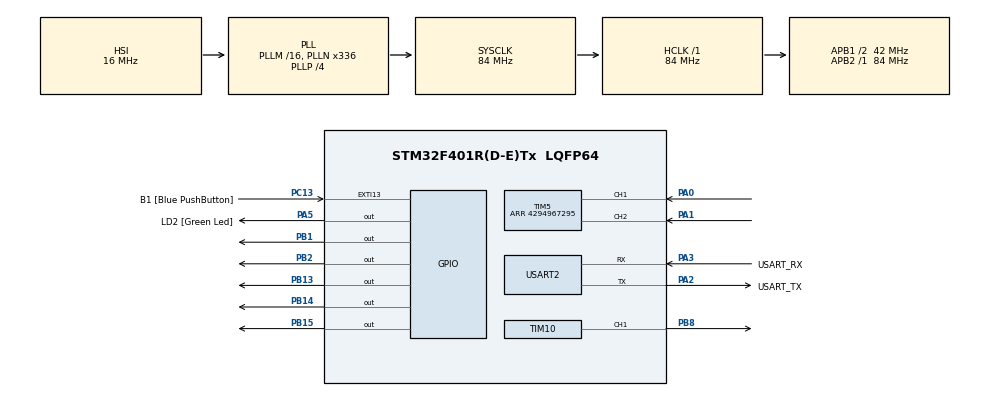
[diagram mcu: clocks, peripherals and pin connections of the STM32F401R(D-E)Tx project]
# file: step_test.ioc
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Mcu.Family=STM32F4
Mcu.Name=STM32F401R(D-E)Tx
Mcu.Package=LQFP64
NVIC.PriorityGroup=NVIC_PRIORITYGROUP_0
NVIC.TIM1_UP_TIM10_IRQn=true\:0\:0\:false\:false\:true\:true
NVIC.TIM3_IRQn=true\:0\:0\:false\:false\:true\:true
NVIC.TIM5_IRQn=true\:0\:0\:false\:false\:true\:true
PA0-WKUP.GPIO_PuPd=GPIO_PULLUP
PA0-WKUP.GPIO_Speed=GPIO_SPEED_FREQ_VERY_HIGH
PA0-WKUP.Signal=S_TIM5_CH1
PA1.GPIO_PuPd=GPIO_PULLUP
PA1.GPIO_Speed=GPIO_SPEED_FREQ_VERY_HIGH
PA1.Signal=S_TIM5_CH2
PA13.GPIO_Label=TMS
PA13.Mode=Serial_Wire
PA13.Signal=SYS_JTMS-SWDIO
PA14.GPIO_Label=TCK
PA14.Mode=Serial_Wire
PA14.Signal=SYS_JTCK-SWCLK
PA2.GPIO_Label=USART_TX
PA2.GPIO_Mode=GPIO_MODE_AF_PP
PA2.GPIO_PuPd=GPIO_NOPULL
PA2.GPIO_Speed=GPIO_SPEED_FREQ_LOW
PA2.Mode=Asynchronous
PA2.Signal=USART2_TX
PA3.GPIO_Label=USART_RX
PA3.GPIO_Mode=GPIO_MODE_AF_PP
PA3.GPIO_PuPd=GPIO_NOPULL
PA3.GPIO_Speed=GPIO_SPEED_FREQ_LOW
PA3.Mode=Asynchronous
PA3.Signal=USART2_RX
PA5.GPIO_Label=LD2 [Green Led]
PA5.GPIO_Mode=GPIO_MODE_OUTPUT_PP
PA5.GPIO_PuPd=GPIO_NOPULL
PA5.GPIO_Speed=GPIO_SPEED_FREQ_LOW
PA5.Signal=GPIO_Output
PB1.GPIO_PuPd=GPIO_PULLUP
PB1.Signal=GPIO_Output
PB13.GPIO_PuPd=GPIO_PULLUP
PB13.Signal=GPIO_Output
PB14.GPIO_PuPd=GPIO_PULLUP
PB14.Signal=GPIO_Output
PB15.GPIO_PuPd=GPIO_PULLUP
PB15.Signal=GPIO_Output
PB2.GPIO_PuPd=GPIO_PULLUP
PB2.Signal=GPIO_Output
PB3.GPIO_Label=SWO
PB3.Signal=SYS_JTDO-SWO
PB8.GPIO_PuPd=GPIO_PULLUP
PB8.GPIO_Speed=GPIO_SPEED_FREQ_VERY_HIGH
PB8.Signal=S_TIM10_CH1
PC13-ANTI_TAMP.GPIO_Label=B1 [Blue PushButton]
PC13-ANTI_TAMP.GPIO_ModeDefaultEXTI=GPIO_MODE_IT_FALLING
PC13-ANTI_TAMP.GPIO_PuPd=GPIO_NOPULL
PC13-ANTI_TAMP.Signal=GPXTI13
PC14-OSC32_IN.Mode=LSE-External-Oscillator
PC14-OSC32_IN.Signal=RCC_OSC32_IN
PC15-OSC32_OUT.Mode=LSE-External-Oscillator
PC15-OSC32_OUT.Signal=RCC_OSC32_OUT
PH0\ -\ OSC_IN.Mode=HSE-External-Clock-Source
PH0\ -\ OSC_IN.Signal=RCC_OSC_IN
PH1\ -\ OSC_OUT.Mode=HSE-External-Clock-Source
PH1\ -\ OSC_OUT.Signal=RCC_OSC_OUT
ProjectManager.HeapSize=0x200
ProjectManager.StackSize=0x400
ProjectManager.TargetToolchain=EWARM
RCC.48MHZClocksFreq_Value=48000000
RCC.AHBFreq_Value=84000000
RCC.APB1CLKDivider=RCC_HCLK_DIV2
RCC.APB1Freq_Value=42000000
RCC.APB1TimFreq_Value=84000000
RCC.APB2Freq_Value=84000000
RCC.APB2TimFreq_Value=84000000
RCC.CortexFreq_Value=84000000
RCC.HCLKFreq_Value=84000000
RCC.HSE_VALUE=8000000
RCC.HSI_VALUE=16000000
RCC.PLLN=336
RCC.PLLP=RCC_PLLP_DIV4
RCC.PLLQ=7
RCC.SYSCLKFreq_VALUE=84000000
RCC.SYSCLKSource=RCC_SYSCLKSOURCE_PLLCLK
RCC.VCOOutputFreq_Value=336000000
SH.S_TIM10_CH1.0=TIM10_CH1,PWM Generation1 CH1
SH.S_TIM5_CH1.0=TIM5_CH1,Encoder_Interface
SH.S_TIM5_CH2.0=TIM5_CH2,Encoder_Interface
TIM10.Channel=TIM_CHANNEL_1
TIM10.Period=125-1
TIM10.Prescaler=105-1
TIM10.Pulse=1
TIM3.Period=1000-1
TIM3.Prescaler=840-1
TIM5.EncoderMode=TIM_ENCODERMODE_TI12
TIM5.IC2Polarity=TIM_ICPOLARITY_FALLING
TIM5.Period=4294967295
USART2.VirtualMode=VM_ASYNC
VP_TIM10_VS_ClockSourceINT.Mode=Enable_Timer
VP_TIM3_VS_ClockSourceINT.Mode=Internal
board=NUCLEO-F401RE

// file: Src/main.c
/**
  ******************************************************************************
  * @file           : main.c
  * @brief          : Main program body
  ******************************************************************************
  ** This notice applies to any and all portions of this file
  * that are not between comment pairs USER CODE BEGIN and
  * USER CODE END. Other portions of this file, whether
  * inserted by the user or by software development tools
  * are owned by their respective copyright owners.
  *
  * COPYRIGHT(c) 2021 STMicroelectronics
  *
  * Redistribution and use in source and binary forms, with or without modification,
  * are permitted provided that the following conditions are met:
  *   1. Redistributions of source code must retain the above copyright notice,
  *      this list of conditions and the following disclaimer.
  *   2. Redistributions in binary form must reproduce the above copyright notice,
  *      this list of conditions and the following disclaimer in the documentation
  *      and/or other materials provided with the distribution.
  *   3. Neither the name of STMicroelectronics nor the names of its contributors
  *      may be used to endorse or promote products derived from this software
  *      without specific prior written permission.
  *
  * THIS SOFTWARE IS PROVIDED BY THE COPYRIGHT HOLDERS AND CONTRIBUTORS "AS IS"
  * AND ANY EXPRESS OR IMPLIED WARRANTIES, INCLUDING, BUT NOT LIMITED TO, THE
  * IMPLIED WARRANTIES OF MERCHANTABILITY AND FITNESS FOR A PARTICULAR PURPOSE ARE
  * DISCLAIMED. IN NO EVENT SHALL THE COPYRIGHT HOLDER OR CONTRIBUTORS BE LIABLE
  * FOR ANY DIRECT, INDIRECT, INCIDENTAL, SPECIAL, EXEMPLARY, OR CONSEQUENTIAL
  * DAMAGES (INCLUDING, BUT NOT LIMITED TO, PROCUREMENT OF SUBSTITUTE GOODS OR
  * SERVICES; LOSS OF USE, DATA, OR PROFITS; OR BUSINESS INTERRUPTION) HOWEVER
  * CAUSED AND ON ANY THEORY OF LIABILITY, WHETHER IN CONTRACT, STRICT LIABILITY,
  * OR TORT (INCLUDING NEGLIGENCE OR OTHERWISE) ARISING IN ANY WAY OUT OF THE USE
  * OF THIS SOFTWARE, EVEN IF ADVISED OF THE POSSIBILITY OF SUCH DAMAGE.
  *
  ******************************************************************************
  */
#include "main.h"
#include "stm32f4xx_hal.h"

/* USER CODE BEGIN Includes */
#include "stdbool.h"
#include "stdlib.h"
#include "stdbool.h"
#include <tgmath.h>
#include "stepper.h"
/* USER CODE END Includes */

TIM_HandleTypeDef htim3;
TIM_HandleTypeDef htim5;
TIM_HandleTypeDef htim10;

UART_HandleTypeDef huart2;

/* USER CODE BEGIN PV */
/* Private variables ---------------------------------------------------------*/

///////////////////////////

bool state = 1;
const bool START = 0;
const bool STOP = 1;

int32_t arr;

/////////////////////////// encoder parameters
const double PUSLE2DEG = 0.12;
const int32_t ENCODER_INIT = 32767;
int32_t Encoder4=32767;
int32_t pre_Encoder4=32767;
int32_t Encoder5=32767;
int32_t pre_Encoder5=32767;
////////////////////////// angle parameters
double pos_err = 0.0;
double target_pos = 32767;

////////////////////////// pulse parameters
extern float cnt;// = 2.0;
extern int T ;//= 105;
extern int P;// = 125;///6400hz
extern int S ;//= 200;
extern double rps ;//= 0.0; ///revolute per second
extern double rpm ;//= 0.0;
extern double frequency; // = 0.0;
extern bool dir;
extern double speed;
extern bool status ;

////////////////////////// control parameters

double speed_limit = 100.0;

extern double P_gain;

/* USER CODE END PV */

void SystemClock_Config(void);
static void MX_GPIO_Init(void);
static void MX_USART2_UART_Init(void);
static void MX_TIM10_Init(void);
static void MX_TIM3_Init(void);
static void MX_TIM5_Init(void);

void HAL_TIM_MspPostInit(TIM_HandleTypeDef *htim);

/* USER CODE BEGIN PFP */
/* Private function prototypes -----------------------------------------------*/
/*
void step_control()
{
  rps = (fabs(rpm)/60.0);
  frequency = 6400.0*rps;
  P = (int)(125.0/rps) ;

  if (rpm<0)
  {
    dir = 1;
  }
  else
  {
    dir = 0;
  }

  if (dir == 0)
  {
    HAL_GPIO_WritePin(GPIOB,GPIO_PIN_2,GPIO_PIN_RESET);
    HAL_GPIO_WritePin(GPIOB,GPIO_PIN_1,GPIO_PIN_SET);
  }
  else
  {
    HAL_GPIO_WritePin(GPIOB,GPIO_PIN_2,GPIO_PIN_SET);
    HAL_GPIO_WritePin(GPIOB,GPIO_PIN_1,GPIO_PIN_RESET);
  }

  //////////60 rpm  ==> 6400HZ psc105 arr125
  /////300 rpm ==> psc105 arr25
  /////

}

void status_con()
{
  if(rpm == 0.0)
  {
    status = 1;
    HAL_GPIO_WritePin(GPIOB,GPIO_PIN_15,GPIO_PIN_SET);
  }
  else
  {
    status = 0;
    HAL_GPIO_WritePin(GPIOB,GPIO_PIN_15,GPIO_PIN_RESET);
  }
}
*/

void read_encoder()
{
  pre_Encoder5 = Encoder5;
  Encoder5 = TIM5->CNT;
}

double stepper_pos()
{
  pos_err = (double)(target_pos - Encoder5);
  if(fabs(pos_err)>speed_limit)
  {
    if(pos_err<0.0)
    {
      return -speed_limit;
    }
    else
    {
      return speed_limit;
    }
  }
  else
  {
    return pos_err;
  }
}

/* USER CODE END PFP */

/* USER CODE BEGIN 0 */
void HAL_TIM_PeriodElapsedCallback(TIM_HandleTypeDef *htim)
{
  read_encoder();
  if(htim->Instance == TIM3)
  {

    if(state == START)
    {
      step_control(stepper_pos());
      status_con();
      if(status == 0)
      {
        //HAL_GPIO_TogglePin(GPIOB,GPIO_PIN_15);
        //HAL_GPIO_WritePin(GPIOB,GPIO_PIN_15,GPIO_PIN_RESET);
        HAL_GPIO_WritePin(GPIOB,GPIO_PIN_14,GPIO_PIN_RESET);
        HAL_GPIO_WritePin(GPIOB,GPIO_PIN_13,GPIO_PIN_RESET);
        HAL_GPIO_TogglePin(GPIOA,GPIO_PIN_5);

        htim10.Instance->PSC = T-1;
        htim10.Instance->ARR = P-1;

      }
      else
      {
        //HAL_GPIO_WritePin(GPIOB,GPIO_PIN_2,GPIO_PIN_RESET);
        //HAL_GPIO_WritePin(GPIOB,GPIO_PIN_1,GPIO_PIN_RESET);
        //HAL_GPIO_WritePin(GPIOB,GPIO_PIN_15,GPIO_PIN_RESET);
        HAL_GPIO_WritePin(GPIOB,GPIO_PIN_14,GPIO_PIN_SET);
        HAL_GPIO_WritePin(GPIOB,GPIO_PIN_13,GPIO_PIN_SET);
      }
      //TIM4->CCR1=cnt;
    }
    else
    {
      HAL_GPIO_WritePin(GPIOB,GPIO_PIN_14,GPIO_PIN_SET);
      HAL_GPIO_WritePin(GPIOB,GPIO_PIN_13,GPIO_PIN_SET);
    }
  }

}
/* USER CODE END 0 */

int main(void)
{

  /* MCU Configuration----------------------------------------------------------*/

  /* Reset of all peripherals, Initializes the Flash interface and the Systick. */
  HAL_Init();

  /* Configure the system clock */
  SystemClock_Config();

  /* Initialize all configured peripherals */
  MX_GPIO_Init();
  MX_USART2_UART_Init();
  MX_TIM10_Init();
  MX_TIM3_Init();
  MX_TIM5_Init();
  /* USER CODE BEGIN 2 */
  TIM5->CNT = ENCODER_INIT;

  HAL_TIM_Encoder_Start(&htim5,TIM_CHANNEL_ALL);

  HAL_TIM_Base_Start_IT(&htim3);
  HAL_TIM_Base_Start_IT(&htim10);
  HAL_TIM_Base_Start_IT(&htim5);

  HAL_GPIO_WritePin(GPIOB,GPIO_PIN_2,GPIO_PIN_SET);
  HAL_GPIO_WritePin(GPIOB,GPIO_PIN_1,GPIO_PIN_RESET);
  HAL_GPIO_WritePin(GPIOB,GPIO_PIN_15,GPIO_PIN_SET);
  HAL_GPIO_WritePin(GPIOB,GPIO_PIN_14,GPIO_PIN_RESET);
  HAL_GPIO_WritePin(GPIOB,GPIO_PIN_13,GPIO_PIN_RESET);

  HAL_TIM_PWM_Start(&htim10, TIM_CHANNEL_1);

  /* USER CODE END 2 */

  /* Infinite loop */
  while (1)
  {

  }

}

void SystemClock_Config(void)
{

  RCC_OscInitTypeDef RCC_OscInitStruct;
  RCC_ClkInitTypeDef RCC_ClkInitStruct;

    /**Configure the main internal regulator output voltage
    */
  __HAL_RCC_PWR_CLK_ENABLE();

  __HAL_PWR_VOLTAGESCALING_CONFIG(PWR_REGULATOR_VOLTAGE_SCALE2);

    /**Initializes the CPU, AHB and APB busses clocks
    */
  RCC_OscInitStruct.OscillatorType = RCC_OSCILLATORTYPE_HSI;
  RCC_OscInitStruct.HSIState = RCC_HSI_ON;
  RCC_OscInitStruct.HSICalibrationValue = 16;
  RCC_OscInitStruct.PLL.PLLState = RCC_PLL_ON;
  RCC_OscInitStruct.PLL.PLLSource = RCC_PLLSOURCE_HSI;
  RCC_OscInitStruct.PLL.PLLM = 16;
  RCC_OscInitStruct.PLL.PLLN = 336;
  RCC_OscInitStruct.PLL.PLLP = RCC_PLLP_DIV4;
  RCC_OscInitStruct.PLL.PLLQ = 7;
  if (HAL_RCC_OscConfig(&RCC_OscInitStruct) != HAL_OK)
  {
    _Error_Handler(__FILE__, __LINE__);
  }

    /**Initializes the CPU, AHB and APB busses clocks
    */
  RCC_ClkInitStruct.ClockType = RCC_CLOCKTYPE_HCLK|RCC_CLOCKTYPE_SYSCLK
                              |RCC_CLOCKTYPE_PCLK1|RCC_CLOCKTYPE_PCLK2;
  RCC_ClkInitStruct.SYSCLKSource = RCC_SYSCLKSOURCE_PLLCLK;
  RCC_ClkInitStruct.AHBCLKDivider = RCC_SYSCLK_DIV1;
  RCC_ClkInitStruct.APB1CLKDivider = RCC_HCLK_DIV2;
  RCC_ClkInitStruct.APB2CLKDivider = RCC_HCLK_DIV1;

  if (HAL_RCC_ClockConfig(&RCC_ClkInitStruct, FLASH_LATENCY_2) != HAL_OK)
  {
    _Error_Handler(__FILE__, __LINE__);
  }

    /**Configure the Systick interrupt time
    */
  HAL_SYSTICK_Config(HAL_RCC_GetHCLKFreq()/1000);

    /**Configure the Systick
    */
  HAL_SYSTICK_CLKSourceConfig(SYSTICK_CLKSOURCE_HCLK);

  /* SysTick_IRQn interrupt configuration */
  HAL_NVIC_SetPriority(SysTick_IRQn, 0, 0);
}

/* TIM3 init function */
static void MX_TIM3_Init(void)
{

  TIM_ClockConfigTypeDef sClockSourceConfig;
  TIM_MasterConfigTypeDef sMasterConfig;

  htim3.Instance = TIM3;
  htim3.Init.Prescaler = 840-1;
  htim3.Init.CounterMode = TIM_COUNTERMODE_UP;
  htim3.Init.Period = 1000-1;
  htim3.Init.ClockDivision = TIM_CLOCKDIVISION_DIV1;
  if (HAL_TIM_Base_Init(&htim3) != HAL_OK)
  {
    _Error_Handler(__FILE__, __LINE__);
  }

  sClockSourceConfig.ClockSource = TIM_CLOCKSOURCE_INTERNAL;
  if (HAL_TIM_ConfigClockSource(&htim3, &sClockSourceConfig) != HAL_OK)
  {
    _Error_Handler(__FILE__, __LINE__);
  }

  sMasterConfig.MasterOutputTrigger = TIM_TRGO_RESET;
  sMasterConfig.MasterSlaveMode = TIM_MASTERSLAVEMODE_DISABLE;
  if (HAL_TIMEx_MasterConfigSynchronization(&htim3, &sMasterConfig) != HAL_OK)
  {
    _Error_Handler(__FILE__, __LINE__);
  }

}

/* TIM5 init function */
static void MX_TIM5_Init(void)
{

  TIM_Encoder_InitTypeDef sConfig;
  TIM_MasterConfigTypeDef sMasterConfig;

  htim5.Instance = TIM5;
  htim5.Init.Prescaler = 0;
  htim5.Init.CounterMode = TIM_COUNTERMODE_UP;
  htim5.Init.Period = 4294967295;
  htim5.Init.ClockDivision = TIM_CLOCKDIVISION_DIV1;
  sConfig.EncoderMode = TIM_ENCODERMODE_TI12;
  sConfig.IC1Polarity = TIM_ICPOLARITY_RISING;
  sConfig.IC1Selection = TIM_ICSELECTION_DIRECTTI;
  sConfig.IC1Prescaler = TIM_ICPSC_DIV1;
  sConfig.IC1Filter = 0;
  sConfig.IC2Polarity = TIM_ICPOLARITY_FALLING;
  sConfig.IC2Selection = TIM_ICSELECTION_DIRECTTI;
  sConfig.IC2Prescaler = TIM_ICPSC_DIV1;
  sConfig.IC2Filter = 0;
  if (HAL_TIM_Encoder_Init(&htim5, &sConfig) != HAL_OK)
  {
    _Error_Handler(__FILE__, __LINE__);
  }

  sMasterConfig.MasterOutputTrigger = TIM_TRGO_RESET;
  sMasterConfig.MasterSlaveMode = TIM_MASTERSLAVEMODE_DISABLE;
  if (HAL_TIMEx_MasterConfigSynchronization(&htim5, &sMasterConfig) != HAL_OK)
  {
    _Error_Handler(__FILE__, __LINE__);
  }

}

/* TIM10 init function */
static void MX_TIM10_Init(void)
{

  TIM_OC_InitTypeDef sConfigOC;

  htim10.Instance = TIM10;
  htim10.Init.Prescaler = 105-1;
  htim10.Init.CounterMode = TIM_COUNTERMODE_UP;
  htim10.Init.Period = 125-1;
  htim10.Init.ClockDivision = TIM_CLOCKDIVISION_DIV1;
  if (HAL_TIM_Base_Init(&htim10) != HAL_OK)
  {
    _Error_Handler(__FILE__, __LINE__);
  }

  if (HAL_TIM_PWM_Init(&htim10) != HAL_OK)
  {
    _Error_Handler(__FILE__, __LINE__);
  }

  sConfigOC.OCMode = TIM_OCMODE_PWM1;
  sConfigOC.Pulse = 1;
  sConfigOC.OCPolarity = TIM_OCPOLARITY_HIGH;
  sConfigOC.OCFastMode = TIM_OCFAST_DISABLE;
  if (HAL_TIM_PWM_ConfigChannel(&htim10, &sConfigOC, TIM_CHANNEL_1) != HAL_OK)
  {
    _Error_Handler(__FILE__, __LINE__);
  }

  HAL_TIM_MspPostInit(&htim10);

}

/* USART2 init function */
static void MX_USART2_UART_Init(void)
{

  huart2.Instance = USART2;
  huart2.Init.BaudRate = 115200;
  huart2.Init.WordLength = UART_WORDLENGTH_8B;
  huart2.Init.StopBits = UART_STOPBITS_1;
  huart2.Init.Parity = UART_PARITY_NONE;
  huart2.Init.Mode = UART_MODE_TX_RX;
  huart2.Init.HwFlowCtl = UART_HWCONTROL_NONE;
  huart2.Init.OverSampling = UART_OVERSAMPLING_16;
  if (HAL_UART_Init(&huart2) != HAL_OK)
  {
    _Error_Handler(__FILE__, __LINE__);
  }

}

/** Configure pins as
        * Analog
        * Input
        * Output
        * EVENT_OUT
        * EXTI
*/
static void MX_GPIO_Init(void)
{

  GPIO_InitTypeDef GPIO_InitStruct;

  /* GPIO Ports Clock Enable */
  __HAL_RCC_GPIOC_CLK_ENABLE();
  __HAL_RCC_GPIOH_CLK_ENABLE();
  __HAL_RCC_GPIOA_CLK_ENABLE();
  __HAL_RCC_GPIOB_CLK_ENABLE();

  /*Configure GPIO pin Output Level */
  HAL_GPIO_WritePin(LD2_GPIO_Port, LD2_Pin, GPIO_PIN_RESET);

  /*Configure GPIO pin Output Level */
  HAL_GPIO_WritePin(GPIOB, GPIO_PIN_1|GPIO_PIN_2|GPIO_PIN_13|GPIO_PIN_14
                          |GPIO_PIN_15, GPIO_PIN_RESET);

  /*Configure GPIO pin : B1_Pin */
  GPIO_InitStruct.Pin = B1_Pin;
  GPIO_InitStruct.Mode = GPIO_MODE_IT_FALLING;
  GPIO_InitStruct.Pull = GPIO_NOPULL;
  HAL_GPIO_Init(B1_GPIO_Port, &GPIO_InitStruct);

  /*Configure GPIO pin : LD2_Pin */
  GPIO_InitStruct.Pin = LD2_Pin;
  GPIO_InitStruct.Mode = GPIO_MODE_OUTPUT_PP;
  GPIO_InitStruct.Pull = GPIO_NOPULL;
  GPIO_InitStruct.Speed = GPIO_SPEED_FREQ_LOW;
  HAL_GPIO_Init(LD2_GPIO_Port, &GPIO_InitStruct);

  /*Configure GPIO pins : PB1 PB2 PB13 PB14
                           PB15 */
  GPIO_InitStruct.Pin = GPIO_PIN_1|GPIO_PIN_2|GPIO_PIN_13|GPIO_PIN_14
                          |GPIO_PIN_15;
  GPIO_InitStruct.Mode = GPIO_MODE_OUTPUT_PP;
  GPIO_InitStruct.Pull = GPIO_PULLUP;
  GPIO_InitStruct.Speed = GPIO_SPEED_FREQ_LOW;
  HAL_GPIO_Init(GPIOB, &GPIO_InitStruct);

}

void _Error_Handler(char *file, int line)
{
  while(1)
  {
  }
}

/************************ (C) COPYRIGHT STMicroelectronics *****END OF FILE****/
